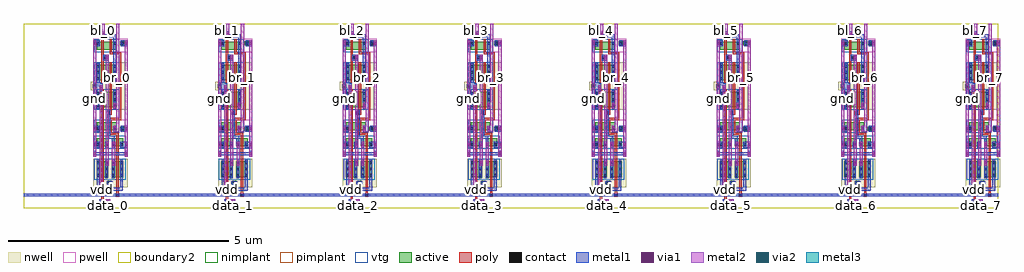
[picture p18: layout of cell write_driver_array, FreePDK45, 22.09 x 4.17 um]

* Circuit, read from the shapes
.subckt write_driver_array bl_0 bl_1 bl_2 bl_3 bl_4 bl_5 bl_6 bl_7 br_0 br_1 br_2 br_3 br_4 br_5 br_6 br_7 data_0 data_1 data_2 data_3 data_4 data_5 data_6 data_7 en gnd vdd
M1 n1 data_0 gnd gnd nfet w=0.18u l=0.05u
M2 n2 data_0 gnd gnd nfet w=0.18u l=0.05u
M3 n3 n1 gnd gnd nfet w=0.18u l=0.05u
M4 br_0 en n2 gnd nfet w=0.18u l=0.05u
M5 bl_0 en n3 gnd nfet w=0.18u l=0.05u
M6 gnd en n4 gnd nfet w=0.18u l=0.05u
M7 n5 data_1 gnd gnd nfet w=0.18u l=0.05u
M8 n6 data_1 gnd gnd nfet w=0.18u l=0.05u
M9 n7 n5 gnd gnd nfet w=0.18u l=0.05u
M10 br_1 en n6 gnd nfet w=0.18u l=0.05u
M11 bl_1 en n7 gnd nfet w=0.18u l=0.05u
M12 gnd en n8 gnd nfet w=0.18u l=0.05u
M13 n9 data_2 gnd gnd nfet w=0.18u l=0.05u
M14 n10 data_2 gnd gnd nfet w=0.18u l=0.05u
M15 n11 n9 gnd gnd nfet w=0.18u l=0.05u
M16 br_2 en n10 gnd nfet w=0.18u l=0.05u
M17 bl_2 en n11 gnd nfet w=0.18u l=0.05u
M18 gnd en n12 gnd nfet w=0.18u l=0.05u
M19 n13 data_3 gnd gnd nfet w=0.18u l=0.05u
M20 n14 data_3 gnd gnd nfet w=0.18u l=0.05u
M21 n15 n13 gnd gnd nfet w=0.18u l=0.05u
M22 br_3 en n14 gnd nfet w=0.18u l=0.05u
M23 bl_3 en n15 gnd nfet w=0.18u l=0.05u
M24 gnd en n16 gnd nfet w=0.18u l=0.05u
M25 n17 data_4 gnd gnd nfet w=0.18u l=0.05u
M26 n18 data_4 gnd gnd nfet w=0.18u l=0.05u
M27 n19 n17 gnd gnd nfet w=0.18u l=0.05u
M28 br_4 en n18 gnd nfet w=0.18u l=0.05u
M29 bl_4 en n19 gnd nfet w=0.18u l=0.05u
M30 gnd en n20 gnd nfet w=0.18u l=0.05u
M31 n21 data_5 gnd gnd nfet w=0.18u l=0.05u
M32 n22 data_5 gnd gnd nfet w=0.18u l=0.05u
M33 n23 n21 gnd gnd nfet w=0.18u l=0.05u
M34 br_5 en n22 gnd nfet w=0.18u l=0.05u
M35 bl_5 en n23 gnd nfet w=0.18u l=0.05u
M36 gnd en n24 gnd nfet w=0.18u l=0.05u
M37 n25 data_6 gnd gnd nfet w=0.18u l=0.05u
M38 n26 data_6 gnd gnd nfet w=0.18u l=0.05u
M39 n27 n25 gnd gnd nfet w=0.18u l=0.05u
M40 br_6 en n26 gnd nfet w=0.18u l=0.05u
M41 bl_6 en n27 gnd nfet w=0.18u l=0.05u
M42 gnd en n28 gnd nfet w=0.18u l=0.05u
M43 n29 data_7 gnd gnd nfet w=0.18u l=0.05u
M44 n30 data_7 gnd gnd nfet w=0.18u l=0.05u
M45 n31 n29 gnd gnd nfet w=0.18u l=0.05u
M46 br_7 en n30 gnd nfet w=0.18u l=0.05u
M47 bl_7 en n31 gnd nfet w=0.18u l=0.05u
M48 gnd en n32 gnd nfet w=0.18u l=0.05u
M49 n1 data_0 vdd vdd pfet w=0.36u l=0.05u
M50 n33 data_0 vdd vdd pfet w=0.36u l=0.05u
M51 n34 n1 vdd vdd pfet w=0.36u l=0.05u
M52 br_0 n4 n33 vdd pfet w=0.36u l=0.05u
M53 bl_0 n4 n34 vdd pfet w=0.36u l=0.05u
M54 vdd en n4 vdd pfet w=0.36u l=0.05u
M55 n5 data_1 vdd vdd pfet w=0.36u l=0.05u
M56 n35 data_1 vdd vdd pfet w=0.36u l=0.05u
M57 n36 n5 vdd vdd pfet w=0.36u l=0.05u
M58 br_1 n8 n35 vdd pfet w=0.36u l=0.05u
M59 bl_1 n8 n36 vdd pfet w=0.36u l=0.05u
M60 vdd en n8 vdd pfet w=0.36u l=0.05u
M61 n9 data_2 vdd vdd pfet w=0.36u l=0.05u
M62 n37 data_2 vdd vdd pfet w=0.36u l=0.05u
M63 n38 n9 vdd vdd pfet w=0.36u l=0.05u
M64 br_2 n12 n37 vdd pfet w=0.36u l=0.05u
M65 bl_2 n12 n38 vdd pfet w=0.36u l=0.05u
M66 vdd en n12 vdd pfet w=0.36u l=0.05u
M67 n13 data_3 vdd vdd pfet w=0.36u l=0.05u
M68 n39 data_3 vdd vdd pfet w=0.36u l=0.05u
M69 n40 n13 vdd vdd pfet w=0.36u l=0.05u
M70 br_3 n16 n39 vdd pfet w=0.36u l=0.05u
M71 bl_3 n16 n40 vdd pfet w=0.36u l=0.05u
M72 vdd en n16 vdd pfet w=0.36u l=0.05u
M73 n17 data_4 vdd vdd pfet w=0.36u l=0.05u
M74 n41 data_4 vdd vdd pfet w=0.36u l=0.05u
M75 n42 n17 vdd vdd pfet w=0.36u l=0.05u
M76 br_4 n20 n41 vdd pfet w=0.36u l=0.05u
M77 bl_4 n20 n42 vdd pfet w=0.36u l=0.05u
M78 vdd en n20 vdd pfet w=0.36u l=0.05u
M79 n21 data_5 vdd vdd pfet w=0.36u l=0.05u
M80 n43 data_5 vdd vdd pfet w=0.36u l=0.05u
M81 n44 n21 vdd vdd pfet w=0.36u l=0.05u
M82 br_5 n24 n43 vdd pfet w=0.36u l=0.05u
M83 bl_5 n24 n44 vdd pfet w=0.36u l=0.05u
M84 vdd en n24 vdd pfet w=0.36u l=0.05u
M85 n25 data_6 vdd vdd pfet w=0.36u l=0.05u
M86 n45 data_6 vdd vdd pfet w=0.36u l=0.05u
M87 n46 n25 vdd vdd pfet w=0.36u l=0.05u
M88 br_6 n28 n45 vdd pfet w=0.36u l=0.05u
M89 bl_6 n28 n46 vdd pfet w=0.36u l=0.05u
M90 vdd en n28 vdd pfet w=0.36u l=0.05u
M91 n29 data_7 vdd vdd pfet w=0.36u l=0.05u
M92 n47 data_7 vdd vdd pfet w=0.36u l=0.05u
M93 n48 n29 vdd vdd pfet w=0.36u l=0.05u
M94 br_7 n32 n47 vdd pfet w=0.36u l=0.05u
M95 bl_7 n32 n48 vdd pfet w=0.36u l=0.05u
M96 vdd en n32 vdd pfet w=0.36u l=0.05u
.ends

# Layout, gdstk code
import gdstk
lib = gdstk.Library(unit=1e-6, precision=5e-10)
def R(c, l, rs):  # rectangles x0, y0, x1, y1
    for r in rs: c.add(gdstk.rectangle(r[:2], r[2:], *l))
def A(c, l, x, y, w, h, nx, ny, dx, dy):  # array of equal rectangles
    R(c, l, [(x+i*dx, y+j*dy, x+i*dx+w, y+j*dy+h) for i in range(nx) for j in range(ny)])
active = (1, 0)
pwell = (2, 0)
nwell = (3, 0)
nimplant = (4, 0)
pimplant = (5, 0)
vtg = (6, 0)
poly = (9, 0)
contact = (10, 0)
metal1 = (11, 0)
via1 = (12, 0)
metal2 = (13, 0)
via2 = (14, 0)
metal3 = (15, 0)
boundary2 = (239, 0)

write_driver = lib.new_cell('write_driver')
R(write_driver, active, [(0.2925,0.535,0.3825,0.625), (0.04,0.705,0.115,1.065), (0.04,0.705,0.115,1.065), (0.04,0.705,0.3,1.065), (0.225,0.705,0.3,1.065), (0.225,0.705,0.3,1.065), (0.38,0.705,0.455,1.065), (0.38,0.705,0.455,1.065), (0.38,0.705,0.64,1.065), (0.565,0.705,0.64,1.065), (0.565,0.705,0.64,1.065), (0.04,0.71,0.115,1.065), (0.225,0.71,0.3,1.065), (0.38,0.71,0.455,1.065), (0.565,0.71,0.64,1.065), (0.04,1.4,0.115,1.58), (0.04,1.4,0.115,1.58), (0.04,1.4,0.3,1.58), (0.04,1.4,0.115,1.475), (0.225,1.4,0.3,1.58), (0.225,1.4,0.3,1.58), (0.225,1.4,0.3,1.475), (0.38,1.4,0.455,1.58), (0.38,1.4,0.455,1.58), (0.38,1.4,0.64,1.58), (0.38,1.4,0.455,1.475), (0.565,1.4,0.64,1.58), (0.565,1.4,0.64,1.58), (0.565,1.4,0.64,1.475), (0.5725,1.7575,0.6625,1.8475), (0.04,1.765,0.115,1.945), (0.04,1.765,0.115,1.945), (0.04,1.765,0.115,1.84), (0.04,1.765,0.49,1.945), (0.1975,1.765,0.3375,1.945), (0.415,1.765,0.49,1.945), (0.415,1.765,0.49,1.945), (0.415,1.765,0.49,1.84), (0.04,2.28,0.115,2.64), (0.04,2.28,0.115,2.64), (0.04,2.28,0.115,2.635), (0.04,2.28,0.49,2.64), (0.1975,2.28,0.3375,2.64), (0.415,2.28,0.49,2.64), (0.415,2.28,0.49,2.64), (0.415,2.28,0.49,2.635), (-0.045,2.72,0.045,2.81), (0.04,2.8925,0.115,3.2525), (0.04,2.8925,0.115,3.2525), (0.04,2.8925,0.49,3.2525), (0.1925,2.8925,0.3325,3.2525), (0.415,2.8925,0.49,3.2525), (0.415,2.8925,0.49,3.2525), (0.04,2.8975,0.115,3.2525), (0.415,2.8975,0.49,3.2525), (0.04,3.5875,0.115,3.7675), (0.04,3.5875,0.115,3.7675), (0.04,3.5875,0.49,3.7675), (0.1925,3.5875,0.3325,3.7675), (0.415,3.5875,0.49,3.7675), (0.415,3.5875,0.49,3.7675), (0.575,3.685,0.665,3.775), (0.04,3.6925,0.115,3.7675), (0.415,3.6925,0.49,3.7675)])
R(write_driver, pwell, [(-0.035,1.345,0.74,2), (-0.015,1.345,0.355,1.635), (0.325,1.345,0.695,1.635), (0.5175,1.7025,0.7175,1.9025), (-0.015,1.71,0.545,2), (-0.035,3.5325,0.74,3.83), (-0.015,3.5325,0.545,3.8225), (0.52,3.63,0.72,3.83)])
R(write_driver, nwell, [(-0.035,0.48,0.74,1.12), (0.2375,0.48,0.4375,0.68), (-0.015,0.65,0.355,1.12), (0.325,0.65,0.695,1.12), (-0.035,2.225,0.74,3.3), (-0.015,2.225,0.545,2.695), (-0.1,2.665,0.1,2.865), (-0.015,2.8375,0.545,3.3075)])
R(write_driver, nimplant, [(0.2925,0.535,0.3825,0.625), (0.04,1.4,0.3,1.58), (0.38,1.4,0.64,1.58), (0.04,1.765,0.49,1.945), (-0.045,2.72,0.045,2.81), (0.04,3.5875,0.49,3.7675)])
R(write_driver, pimplant, [(0.04,0.705,0.3,1.065), (0.38,0.705,0.64,1.065), (0.5725,1.7575,0.6625,1.8475), (0.04,2.28,0.49,2.64), (0.04,2.8925,0.49,3.2525), (0.575,3.685,0.665,3.775)])
R(write_driver, vtg, [(-0.015,0.65,0.355,1.12), (0.325,0.65,0.695,1.12), (-0.015,1.345,0.355,1.635), (0.325,1.345,0.695,1.635), (-0.015,1.71,0.545,2), (-0.015,2.225,0.545,2.695), (-0.015,2.8375,0.545,3.3075), (-0.015,3.5325,0.545,3.8225)])
R(write_driver, poly, [(0.1325,0.1325,0.2075,0.2075), (0.145,0.1375,0.195,0.65), (0.4725,0.2625,0.5475,0.3375), (0.485,0.2675,0.535,0.65), (0.145,0.65,0.195,0.705), (0.145,0.65,0.195,1.12), (0.485,0.65,0.535,0.705), (0.485,0.65,0.535,1.12), (0.145,1.065,0.195,1.12), (0.485,1.065,0.535,1.12), (0.145,1.12,0.195,1.345), (0.485,1.12,0.535,1.345), (0.145,1.345,0.195,1.635), (0.145,1.345,0.195,1.4), (0.485,1.345,0.535,1.635), (0.485,1.345,0.535,1.4), (0.145,1.58,0.195,1.635), (0.485,1.58,0.535,1.635), (0.145,1.635,0.195,1.71), (0.485,1.635,0.535,1.66), (0.335,1.66,0.535,1.71), (0.145,1.71,0.195,2), (0.145,1.71,0.195,1.765), (0.335,1.71,0.385,2), (0.335,1.71,0.385,1.765), (0.145,1.945,0.195,2), (0.335,1.945,0.385,2), (0.335,1.995,0.59,2.045), (0.54,1.995,0.59,3.4825), (0.145,2,0.195,2.225), (0.2775,2.12,0.3525,2.195), (0.335,2.12,0.385,2.225), (0.145,2.225,0.195,2.28), (0.145,2.225,0.195,2.695), (0.335,2.225,0.385,2.28), (0.335,2.225,0.385,2.695), (0.145,2.64,0.195,2.695), (0.335,2.64,0.385,2.695), (0.335,2.695,0.385,2.8375), (0.145,2.8375,0.195,2.8925), (0.145,2.8375,0.195,3.3075), (0.335,2.8375,0.385,2.8925), (0.335,2.8375,0.385,3.3075), (0.145,3.2525,0.195,3.3075), (0.335,3.2525,0.385,3.3075), (0.145,3.3075,0.195,3.5325), (0.18,3.37,0.255,3.445), (0.335,3.4825,0.59,3.5325), (0.145,3.5325,0.195,3.8225), (0.145,3.5325,0.195,3.5875), (0.335,3.5325,0.385,3.8225), (0.335,3.5325,0.385,3.5875), (0.145,3.7675,0.195,3.8225), (0.335,3.7675,0.385,3.8225)])
A(write_driver, contact, 0.045, 0.715, 0.065, 0.065, 1, 3, 0, 0.14)
A(write_driver, contact, 0.23, 0.715, 0.065, 0.065, 1, 3, 0, 0.14)
A(write_driver, contact, 0.385, 0.715, 0.065, 0.065, 1, 3, 0, 0.14)
A(write_driver, contact, 0.57, 0.715, 0.065, 0.065, 1, 3, 0, 0.14)
A(write_driver, contact, 0.045, 2.285, 0.065, 0.065, 1, 3, 0, 0.14)
A(write_driver, contact, 0.42, 2.285, 0.065, 0.065, 1, 3, 0, 0.14)
A(write_driver, contact, 0.045, 2.9025, 0.065, 0.065, 1, 3, 0, 0.14)
A(write_driver, contact, 0.42, 2.9025, 0.065, 0.065, 1, 3, 0, 0.14)
R(write_driver, contact, [(0.1375,0.1375,0.2025,0.2025), (0.4775,0.2675,0.5425,0.3325), (0.305,0.5475,0.37,0.6125), (0.045,1.405,0.11,1.47), (0.23,1.405,0.295,1.47), (0.385,1.405,0.45,1.47), (0.57,1.405,0.635,1.47), (0.045,1.77,0.11,1.835), (0.42,1.77,0.485,1.835), (0.585,1.77,0.65,1.835), (0.2825,2.125,0.3475,2.19), (-0.0325,2.7325,0.0325,2.7975), (0.185,3.375,0.25,3.44), (0.045,3.6975,0.11,3.7625), (0.42,3.6975,0.485,3.7625), (0.5875,3.6975,0.6525,3.7625)])
R(write_driver, metal1, [(0.2075,0.135,0.3425,0.2), (0.1025,0.1375,0.2375,0.2025), (0.045,0.2675,0.635,0.3325), (0.045,0.2675,0.635,0.3325), (0.045,0.3975,0.635,0.4625), (0.105,0.3975,0.24,0.4625), (0.045,0.4625,0.11,0.68), (0.3025,0.4625,0.3675,0.6125), (0.57,0.4625,0.635,0.68), (0.27,0.5475,0.405,0.6125), (0.045,0.68,0.11,1.095), (0.23,0.68,0.295,1.095), (0.385,0.68,0.45,1.095), (0.57,0.68,0.635,1.095), (0.2475,0.96,0.3125,1.095), (0.3875,0.96,0.4525,1.095), (-0.0325,1.165,0.0325,1.3), (0.6725,1.165,0.7375,1.3), (-0.035,1.2,0.74,1.265), (-0.0325,1.37,0.0325,1.505), (0.0275,1.37,0.04,1.505), (0.035,1.37,0.045,1.505), (0.045,1.37,0.11,1.505), (0.23,1.37,0.295,1.505), (0.2475,1.37,0.3125,1.505), (0.385,1.37,0.45,1.505), (0.3875,1.37,0.4525,1.505), (0.57,1.37,0.635,1.505), (0.63,1.37,0.6725,1.505), (0.6725,1.37,0.7375,1.505), (0.38,1.4525,0.445,1.5775), (0.2825,1.5775,0.3475,2.175), (0.2825,1.5775,0.445,1.6425), (-0.0325,1.735,0.0325,1.87), (0.0275,1.735,0.04,1.87), (0.035,1.735,0.045,1.87), (0.045,1.735,0.11,1.87), (0.4175,1.735,0.4825,1.87), (0.42,1.735,0.485,1.87), (0.585,1.735,0.65,1.87), (0.65,1.735,0.6725,1.87), (0.6725,1.735,0.7375,1.87), (0.2825,2.09,0.3475,2.225), (0.045,2.25,0.11,2.665), (0.4175,2.25,0.4825,2.385), (0.42,2.25,0.485,2.665), (0.095,2.65,0.11,2.785), (0.1075,2.65,0.1725,2.785), (0.045,2.665,0.11,2.8675), (-0.0325,2.6975,0.0325,2.8325), (0.0325,2.6975,0.175,2.8325), (0.045,2.8675,0.11,3.2825), (0.42,2.8675,0.485,3.2825), (0.42,3.2825,0.485,3.6625), (0.185,3.34,0.25,3.475), (0.2475,3.34,0.3125,3.475), (-0.0325,3.6625,0.0325,3.7975), (0.0275,3.6625,0.04,3.7975), (0.035,3.6625,0.045,3.7975), (0.045,3.6625,0.11,3.7975), (0.42,3.6625,0.485,3.7975), (0.5875,3.6625,0.6525,3.7975), (0.6525,3.6625,0.6725,3.7975), (0.6725,3.6625,0.7375,3.7975), (0.42,3.7975,0.485,3.8725), (0.15,3.8725,0.485,3.9375), (0.1525,3.8725,0.2175,4.0075)])
R(write_driver, via1, [(0.2425,0.135,0.3075,0.2), (0.14,0.3975,0.205,0.4625), (0.2475,0.995,0.3125,1.06), (0.3875,0.995,0.4525,1.06), (-0.0325,1.2,0.0325,1.265), (0.6725,1.2,0.7375,1.265), (-0.0325,1.405,0.0325,1.47), (0.2475,1.405,0.3125,1.47), (0.3875,1.405,0.4525,1.47), (0.6725,1.405,0.7375,1.47), (-0.0325,1.77,0.0325,1.835), (0.4175,1.77,0.4825,1.835), (0.6725,1.77,0.7375,1.835), (0.4175,2.285,0.4825,2.35), (0.1075,2.685,0.1725,2.75), (0.2475,3.375,0.3125,3.44), (-0.0325,3.6975,0.0325,3.7625), (0.6725,3.6975,0.7375,3.7625), (0.1525,3.9075,0.2175,3.9725)])
R(write_driver, metal2, [(0.28,0,0.35,0.14), (0.28,0,0.35,0.14), (0.1575,0.1325,0.35,0.2025), (0.2075,0.1325,0.3425,0.2025), (0.105,0.395,0.24,0.465), (0.105,0.395,0.24,0.465), (0.105,0.465,0.175,2.785), (0.245,0.96,0.315,1.095), (0.385,0.96,0.455,1.095), (0.245,1.095,0.315,1.37), (0.385,1.095,0.455,1.37), (-0.035,1.1625,0.035,3.7975), (-0.035,1.1625,0.035,3.7975), (-0.035,1.165,0.035,1.3), (0.67,1.165,0.74,3.7975), (0.67,1.165,0.74,1.3), (-0.035,1.37,0.035,1.505), (0.245,1.37,0.315,3.4675), (0.245,1.37,0.315,1.505), (0.385,1.37,0.455,1.505), (0.67,1.37,0.74,1.505), (-0.035,1.735,0.035,1.87), (0.415,1.735,0.485,1.87), (0.485,1.735,0.555,4.175), (0.485,1.735,0.555,4.175), (0.67,1.735,0.74,1.87), (0.415,2.25,0.485,2.385), (0.105,2.65,0.175,2.785), (0.245,3.34,0.315,3.475), (-0.035,3.6625,0.035,3.7975), (0.67,3.6625,0.74,3.7975), (0.15,3.8725,0.22,4.0075), (0.15,3.875,0.22,4.175), (0.15,3.875,0.22,4.175)])
R(write_driver, boundary2, [(0,0,0.705,4.175)])
write_driver.add(gdstk.Label('din', (0.32,0.035), layer=13, texttype=0))
write_driver.add(gdstk.Label('vdd', (0.1725,0.4325), layer=13, texttype=0))
write_driver.add(gdstk.Label('br', (0.52,4.15), layer=13, texttype=0))
write_driver.add(gdstk.Label('bl', (0.19,4.138), layer=13, texttype=0))
write_driver.add(gdstk.Label('gnd', (-0.005,1.57), layer=13, texttype=0))
write_driver.add(gdstk.Label('din', (0.315,0.07), layer=13, texttype=0))
write_driver.add(gdstk.Label('bl', (0.185,4.025), layer=13, texttype=0))
write_driver.add(gdstk.Label('br', (0.52,2.955), layer=13, texttype=0))
write_driver.add(gdstk.Label('vdd', (0.1725,0.43), layer=13, texttype=0))
write_driver.add(gdstk.Label('gnd', (0,2.48), layer=13, texttype=0))
write_driver.add(gdstk.Label('en', (0.3325,0.3), layer=11, texttype=0))
write_driver.add(gdstk.Label('en', (0.34,0.3), layer=11, texttype=0))

contact_20 = lib.new_cell('contact_20')
R(contact_20, metal2, [(0,0,0.07,0.14)])
R(contact_20, via2, [(0,0.035,0.07,0.105)])
R(contact_20, metal3, [(0,0,0.07,0.14)])
R(contact_20, boundary2, [(0,0,0.07,0.14)])

write_driver_array = lib.new_cell('write_driver_array')
R(write_driver_array, metal1, [(0,0.2675,22.05,0.3325)])
A(write_driver_array, metal2, 1.885, 0, 0.07, 0.14, 8, 1, 2.82, 0)
A(write_driver_array, metal2, 2.09, 1.735, 0.07, 2.44, 8, 1, 2.82, 0)
A(write_driver_array, metal2, 1.755, 3.875, 0.07, 0.3, 8, 1, 2.82, 0)
A(write_driver_array, metal3, 1.7425, 0.36, 0.07, 0.14, 8, 1, 2.82, 0)
A(write_driver_array, metal3, 1.57, 2.41, 0.07, 0.14, 8, 1, 2.82, 0)
R(write_driver_array, boundary2, [(0,0,22.05,4.175)])
write_driver_array.add(gdstk.Reference(write_driver, (1.605,0)))
write_driver_array.add(gdstk.Reference(write_driver, (4.425,0)))
write_driver_array.add(gdstk.Reference(write_driver, (7.245,0)))
write_driver_array.add(gdstk.Reference(write_driver, (10.065,0)))
write_driver_array.add(gdstk.Reference(write_driver, (12.885,0)))
write_driver_array.add(gdstk.Reference(write_driver, (15.705,0)))
write_driver_array.add(gdstk.Reference(write_driver, (18.525,0)))
write_driver_array.add(gdstk.Reference(write_driver, (21.345,0)))
write_driver_array.add(gdstk.Reference(contact_20, (1.7425,0.36)))
write_driver_array.add(gdstk.Reference(contact_20, (1.57,2.41)))
write_driver_array.add(gdstk.Reference(contact_20, (4.5625,0.36)))
write_driver_array.add(gdstk.Reference(contact_20, (4.39,2.41)))
write_driver_array.add(gdstk.Reference(contact_20, (7.3825,0.36)))
write_driver_array.add(gdstk.Reference(contact_20, (7.21,2.41)))
write_driver_array.add(gdstk.Reference(contact_20, (10.2025,0.36)))
write_driver_array.add(gdstk.Reference(contact_20, (10.03,2.41)))
write_driver_array.add(gdstk.Reference(contact_20, (13.0225,0.36)))
write_driver_array.add(gdstk.Reference(contact_20, (12.85,2.41)))
write_driver_array.add(gdstk.Reference(contact_20, (15.8425,0.36)))
write_driver_array.add(gdstk.Reference(contact_20, (15.67,2.41)))
write_driver_array.add(gdstk.Reference(contact_20, (18.6625,0.36)))
write_driver_array.add(gdstk.Reference(contact_20, (18.49,2.41)))
write_driver_array.add(gdstk.Reference(contact_20, (21.4825,0.36)))
write_driver_array.add(gdstk.Reference(contact_20, (21.31,2.41)))
write_driver_array.add(gdstk.Label('data_0', (1.92,0.07), layer=13, texttype=0))
write_driver_array.add(gdstk.Label('bl_0', (1.79,4.025), layer=13, texttype=0))
write_driver_array.add(gdstk.Label('br_0', (2.125,2.955), layer=13, texttype=0))
write_driver_array.add(gdstk.Label('data_1', (4.74,0.07), layer=13, texttype=0))
write_driver_array.add(gdstk.Label('bl_1', (4.61,4.025), layer=13, texttype=0))
write_driver_array.add(gdstk.Label('br_1', (4.945,2.955), layer=13, texttype=0))
write_driver_array.add(gdstk.Label('data_2', (7.56,0.07), layer=13, texttype=0))
write_driver_array.add(gdstk.Label('bl_2', (7.43,4.025), layer=13, texttype=0))
write_driver_array.add(gdstk.Label('br_2', (7.765,2.955), layer=13, texttype=0))
write_driver_array.add(gdstk.Label('data_3', (10.38,0.07), layer=13, texttype=0))
write_driver_array.add(gdstk.Label('bl_3', (10.25,4.025), layer=13, texttype=0))
write_driver_array.add(gdstk.Label('br_3', (10.585,2.955), layer=13, texttype=0))
write_driver_array.add(gdstk.Label('data_4', (13.2,0.07), layer=13, texttype=0))
write_driver_array.add(gdstk.Label('bl_4', (13.07,4.025), layer=13, texttype=0))
write_driver_array.add(gdstk.Label('br_4', (13.405,2.955), layer=13, texttype=0))
write_driver_array.add(gdstk.Label('data_5', (16.02,0.07), layer=13, texttype=0))
write_driver_array.add(gdstk.Label('bl_5', (15.89,4.025), layer=13, texttype=0))
write_driver_array.add(gdstk.Label('br_5', (16.225,2.955), layer=13, texttype=0))
write_driver_array.add(gdstk.Label('data_6', (18.84,0.07), layer=13, texttype=0))
write_driver_array.add(gdstk.Label('bl_6', (18.71,4.025), layer=13, texttype=0))
write_driver_array.add(gdstk.Label('br_6', (19.045,2.955), layer=13, texttype=0))
write_driver_array.add(gdstk.Label('data_7', (21.66,0.07), layer=13, texttype=0))
write_driver_array.add(gdstk.Label('bl_7', (21.53,4.025), layer=13, texttype=0))
write_driver_array.add(gdstk.Label('br_7', (21.865,2.955), layer=13, texttype=0))
write_driver_array.add(gdstk.Label('vdd', (4.5975,0.43), layer=15, texttype=0))
write_driver_array.add(gdstk.Label('vdd', (7.4175,0.43), layer=15, texttype=0))
write_driver_array.add(gdstk.Label('vdd', (18.6975,0.43), layer=15, texttype=0))
write_driver_array.add(gdstk.Label('vdd', (21.5175,0.43), layer=15, texttype=0))
write_driver_array.add(gdstk.Label('vdd', (15.8775,0.43), layer=15, texttype=0))
write_driver_array.add(gdstk.Label('vdd', (10.2375,0.43), layer=15, texttype=0))
write_driver_array.add(gdstk.Label('vdd', (13.0575,0.43), layer=15, texttype=0))
write_driver_array.add(gdstk.Label('vdd', (1.7775,0.43), layer=15, texttype=0))
write_driver_array.add(gdstk.Label('gnd', (4.425,2.48), layer=15, texttype=0))
write_driver_array.add(gdstk.Label('gnd', (7.245,2.48), layer=15, texttype=0))
write_driver_array.add(gdstk.Label('gnd', (12.885,2.48), layer=15, texttype=0))
write_driver_array.add(gdstk.Label('gnd', (15.705,2.48), layer=15, texttype=0))
write_driver_array.add(gdstk.Label('gnd', (21.345,2.48), layer=15, texttype=0))
write_driver_array.add(gdstk.Label('gnd', (18.525,2.48), layer=15, texttype=0))
write_driver_array.add(gdstk.Label('gnd', (10.065,2.48), layer=15, texttype=0))
write_driver_array.add(gdstk.Label('gnd', (1.605,2.48), layer=15, texttype=0))
write_driver_array.add(gdstk.Label('en', (11.025,0.3), layer=11, texttype=0))

lib.write_gds('write_driver_array.gds')
